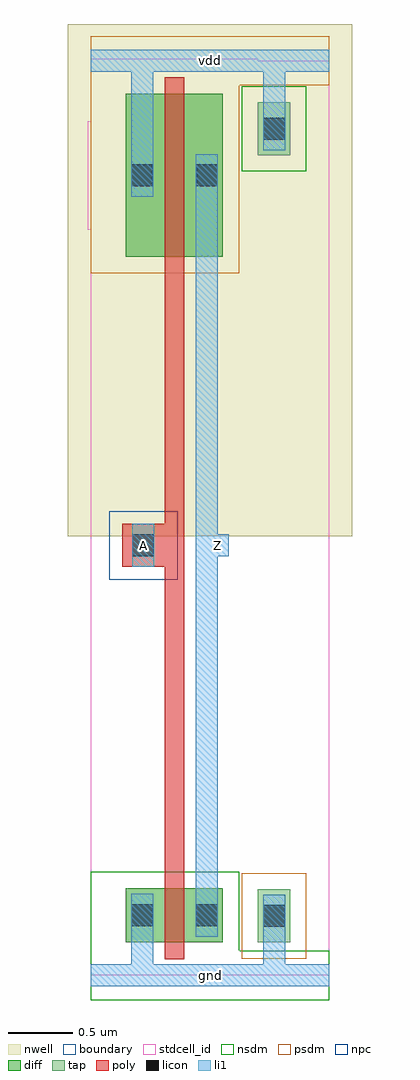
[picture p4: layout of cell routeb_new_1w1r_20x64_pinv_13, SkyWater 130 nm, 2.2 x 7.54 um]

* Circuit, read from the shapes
.subckt routeb_new_1w1r_20x64_pinv_13 A Z gnd vdd
XM1 Z A gnd gnd sky130_fd_pr__nfet_01v8 w=0.42 l=0.15
XM2 Z A vdd vdd sky130_fd_pr__pfet_01v8 w=1.26 l=0.15
.ends

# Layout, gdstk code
import gdstk
lib = gdstk.Library(unit=1e-6, precision=1e-09)
def R(c, l, rs):  # rectangles x0, y0, x1, y1
    for r in rs: c.add(gdstk.rectangle(r[:2], r[2:], *l))
nwell = (64, 20)
diff = (65, 20)
tap = (65, 44)
poly = (66, 20)
licon = (66, 44)
li1 = (67, 20)
stdcell_id = (81, 4)
nsdm = (93, 44)
psdm = (94, 20)
npc = (95, 20)
boundary = (235, 4)

routeb_new_1w1r_20x64_co = lib.new_cell('routeb_new_1w1r_20x64_contact_11')
R(routeb_new_1w1r_20x64_co, nwell, [(-0.295,-0.255,0.545,0.585)])
R(routeb_new_1w1r_20x64_co, diff, [(0,0.02,0.25,0.31)])
R(routeb_new_1w1r_20x64_co, licon, [(0.04,0.08,0.21,0.25)])
R(routeb_new_1w1r_20x64_co, li1, [(0.04,0,0.21,0.33)])
R(routeb_new_1w1r_20x64_co, stdcell_id, [(-0.295,-0.255,0.545,0.585)])
R(routeb_new_1w1r_20x64_co, psdm, [(-0.125,-0.105,0.375,0.435)])
R(routeb_new_1w1r_20x64_co, boundary, [(-0.295,-0.255,0.545,0.585)])

routeb_new_1w1r_20x64_pm = lib.new_cell('routeb_new_1w1r_20x64_pmos_m1_w1_260_sli_dli_da_p')
R(routeb_new_1w1r_20x64_pm, nwell, [(-0.27,-0.27,1.02,1.53)])
R(routeb_new_1w1r_20x64_pm, diff, [(0,0,0.75,1.26)])
R(routeb_new_1w1r_20x64_pm, poly, [(0.3,-0.13,0.45,1.39), (0.3,-0.13,0.45,1.39)])
R(routeb_new_1w1r_20x64_pm, li1, [(0.04,0.465,0.21,0.795), (0.54,0.465,0.71,0.795)])
R(routeb_new_1w1r_20x64_pm, stdcell_id, [(-0.27,-0.27,1.02,1.53)])
R(routeb_new_1w1r_20x64_pm, psdm, [(-0.125,-0.125,0.875,1.385)])
R(routeb_new_1w1r_20x64_pm, boundary, [(-0.27,-0.27,1.02,1.53)])
routeb_new_1w1r_20x64_pm.add(gdstk.Reference(routeb_new_1w1r_20x64_co, (0,0.465)))
routeb_new_1w1r_20x64_pm.add(gdstk.Reference(routeb_new_1w1r_20x64_co, (0.5,0.465)))
routeb_new_1w1r_20x64_pm.add(gdstk.Label('G', (0.375,0.63), layer=66, texttype=5))
routeb_new_1w1r_20x64_pm.add(gdstk.Label('S', (0.125,0.63), layer=67, texttype=5))
routeb_new_1w1r_20x64_pm.add(gdstk.Label('D', (0.625,0.63), layer=67, texttype=5))

c_routeb_new_1w1r_20x64_co = lib.new_cell('routeb_new_1w1r_20x64_contact_10')
R(c_routeb_new_1w1r_20x64_co, diff, [(0,0.02,0.25,0.31)])
R(c_routeb_new_1w1r_20x64_co, licon, [(0.04,0.08,0.21,0.25)])
R(c_routeb_new_1w1r_20x64_co, li1, [(0.04,0,0.21,0.33)])
R(c_routeb_new_1w1r_20x64_co, stdcell_id, [(-0.125,-0.105,0.375,0.435)])
R(c_routeb_new_1w1r_20x64_co, nsdm, [(-0.125,-0.105,0.375,0.435)])
R(c_routeb_new_1w1r_20x64_co, boundary, [(-0.125,-0.105,0.375,0.435)])

routeb_new_1w1r_20x64_nm = lib.new_cell('routeb_new_1w1r_20x64_nmos_m1_w0_420_sli_dli_da_p')
R(routeb_new_1w1r_20x64_nm, diff, [(0,0,0.75,0.42)])
R(routeb_new_1w1r_20x64_nm, poly, [(0.3,-0.13,0.45,0.55), (0.3,-0.13,0.45,0.55)])
R(routeb_new_1w1r_20x64_nm, li1, [(0.04,0.045,0.21,0.375), (0.54,0.045,0.71,0.375)])
R(routeb_new_1w1r_20x64_nm, stdcell_id, [(-0.125,-0.13,0.875,0.55)])
R(routeb_new_1w1r_20x64_nm, nsdm, [(-0.125,-0.125,0.875,0.545)])
R(routeb_new_1w1r_20x64_nm, boundary, [(-0.125,-0.13,0.875,0.55)])
routeb_new_1w1r_20x64_nm.add(gdstk.Reference(c_routeb_new_1w1r_20x64_co, (0,0.045)))
routeb_new_1w1r_20x64_nm.add(gdstk.Reference(c_routeb_new_1w1r_20x64_co, (0.5,0.045)))
routeb_new_1w1r_20x64_nm.add(gdstk.Label('G', (0.375,0.21), layer=66, texttype=5))
routeb_new_1w1r_20x64_nm.add(gdstk.Label('S', (0.125,0.21), layer=67, texttype=5))
routeb_new_1w1r_20x64_nm.add(gdstk.Label('D', (0.625,0.21), layer=67, texttype=5))

c_routeb_new_1w1r_20x64_co_ = lib.new_cell('routeb_new_1w1r_20x64_contact_24')
R(c_routeb_new_1w1r_20x64_co_, nwell, [(-0.295,-0.215,0.545,0.625)])
R(c_routeb_new_1w1r_20x64_co_, tap, [(0,0,0.25,0.41)])
R(c_routeb_new_1w1r_20x64_co_, licon, [(0.04,0.12,0.21,0.29)])
R(c_routeb_new_1w1r_20x64_co_, li1, [(0.04,0.04,0.21,0.37)])
R(c_routeb_new_1w1r_20x64_co_, stdcell_id, [(-0.295,-0.215,0.545,0.625)])
R(c_routeb_new_1w1r_20x64_co_, nsdm, [(-0.125,-0.125,0.375,0.535)])
R(c_routeb_new_1w1r_20x64_co_, boundary, [(-0.295,-0.215,0.545,0.625)])

c_routeb_new_1w1r_20x64_co__ = lib.new_cell('routeb_new_1w1r_20x64_contact_25')
R(c_routeb_new_1w1r_20x64_co__, tap, [(0,0,0.25,0.41)])
R(c_routeb_new_1w1r_20x64_co__, licon, [(0.04,0.12,0.21,0.29)])
R(c_routeb_new_1w1r_20x64_co__, li1, [(0.04,0.04,0.21,0.37)])
R(c_routeb_new_1w1r_20x64_co__, stdcell_id, [(-0.125,-0.125,0.375,0.535)])
R(c_routeb_new_1w1r_20x64_co__, psdm, [(-0.125,-0.125,0.375,0.535)])
R(c_routeb_new_1w1r_20x64_co__, boundary, [(-0.125,-0.125,0.375,0.535)])

c_routeb_new_1w1r_20x64_co___ = lib.new_cell('routeb_new_1w1r_20x64_contact_15')
R(c_routeb_new_1w1r_20x64_co___, poly, [(0,0,0.33,0.33)])
R(c_routeb_new_1w1r_20x64_co___, licon, [(0.08,0.08,0.25,0.25)])
R(c_routeb_new_1w1r_20x64_co___, li1, [(0.08,0,0.25,0.33)])
R(c_routeb_new_1w1r_20x64_co___, stdcell_id, [(-0.1,-0.1,0.43,0.43)])
R(c_routeb_new_1w1r_20x64_co___, npc, [(-0.1,-0.1,0.43,0.43)])
R(c_routeb_new_1w1r_20x64_co___, boundary, [(-0.1,-0.1,0.43,0.43)])

routeb_new_1w1r_20x64_pi = lib.new_cell('routeb_new_1w1r_20x64_pinv_13')
R(routeb_new_1w1r_20x64_pi, nwell, [(-0.18,3.395,2.02,7.355)])
R(routeb_new_1w1r_20x64_pi, poly, [(0.57,0.805,0.72,5.425), (0.405,3.16,0.57,3.49)])
R(routeb_new_1w1r_20x64_pi, li1, [(0,-0.085,1.84,0.085), (0.31,-0.085,0.48,0.3), (1.33,0,1.5,0.46), (0.81,0.3,0.98,6.35), (0.32,3.16,0.49,3.49), (0.895,3.24,1.065,3.41), (0.31,6.02,0.48,7.155), (1.33,6.545,1.5,7.07), (0,6.985,1.84,7.155)])
R(routeb_new_1w1r_20x64_pi, stdcell_id, [(0,0,1.84,7.07), (0,0,1.84,7.07)])
R(routeb_new_1w1r_20x64_pi, nsdm, [(0,-0.19,1.84,0.19), (0,0,1.145,0.8)])
R(routeb_new_1w1r_20x64_pi, psdm, [(0,5.43,1.145,7.07), (0,6.88,1.84,7.26)])
R(routeb_new_1w1r_20x64_pi, boundary, [(0,0,1.84,7.07), (0,0,1.84,7.07)])
routeb_new_1w1r_20x64_pi.add(gdstk.Reference(routeb_new_1w1r_20x64_pm, (0.27,5.555)))
routeb_new_1w1r_20x64_pi.add(gdstk.Reference(routeb_new_1w1r_20x64_nm, (0.27,0.255)))
routeb_new_1w1r_20x64_pi.add(gdstk.Reference(c_routeb_new_1w1r_20x64_co_, (1.29,6.34)))
routeb_new_1w1r_20x64_pi.add(gdstk.Reference(c_routeb_new_1w1r_20x64_co__, (1.29,0.255)))
routeb_new_1w1r_20x64_pi.add(gdstk.Reference(c_routeb_new_1w1r_20x64_co___, (0.24,3.16)))
routeb_new_1w1r_20x64_pi.add(gdstk.Label('A', (0.405,3.325), layer=67, texttype=5))
routeb_new_1w1r_20x64_pi.add(gdstk.Label('Z', (0.98,3.325), layer=67, texttype=5))
routeb_new_1w1r_20x64_pi.add(gdstk.Label('gnd', (0.92,0), layer=67, texttype=5))
routeb_new_1w1r_20x64_pi.add(gdstk.Label('vdd', (0.92,7.07), layer=67, texttype=5))

lib.write_gds('routeb_new_1w1r_20x64_pinv_13.gds')
